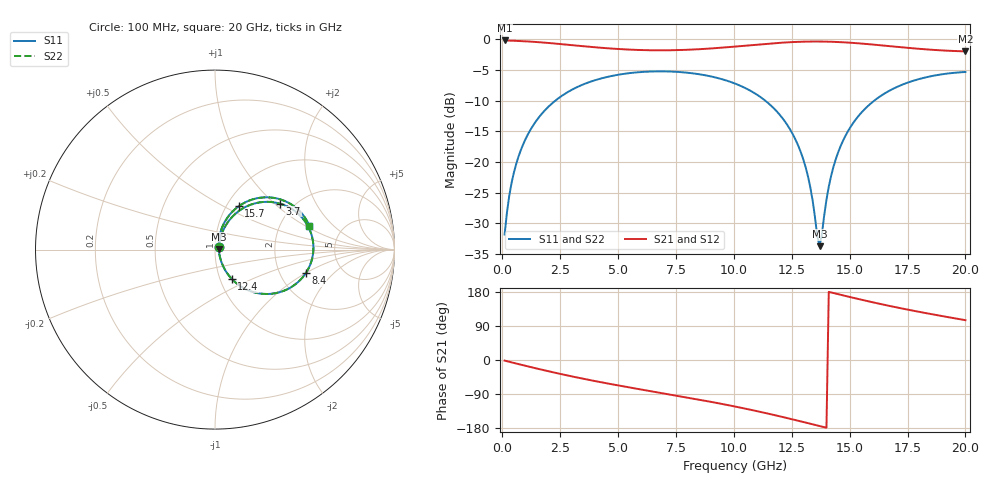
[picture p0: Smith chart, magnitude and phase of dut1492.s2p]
! Touchstone file exported from HFSS 2026.1.0
!  File:  C:/ffzhzh/LocalFiles/Ansys_Project_Files/temp_train_TSV_RDL_1492_1783364380_37376.aedt
!  Generated:  03:08:50 AM Jul  7, 2026
!  Design:  TSV_RDL
!  Project:  temp_train_TSV_RDL_1492_1783364380_37376
! Variables:
!  h_bsmrdl = 3.46um
!  h_ox = 20um
!  h_rdl = 5um
!  h_sub = 75.33um
!  h_tmrdl = 2.57um
!  h_tsv = 75.33um
!  h_via = 3um
!  l_bsmrdl = 793.49um
!  l_sub = 4267.08um
!  l_tmrdl = 336.5um
!  m_sub = 200um
!  pitch = 59.76um
!  r_tsv = 13.05um
!  s_tmrdl = 10um
!  w_bsmrdl = 27.37um
!  w_sub = 500um
!  w_tmrdl = 19.5um
!  x_tsv_center1 = 346.25um
!  x_tsv_center2 = 1167.11um
!  x_tsv_center3 = 1523.11um
!  x_tsv_center4 = 2343.97um
!  x_tsv_center5 = 2699.97um
!  x_tsv_center6 = 3520.83um
# GHz S MA R 50.000000
! Terminal data exported
! Port[1] = TM_RDL1_1_T1
! Port[2] = TM_RDL5_1_T1
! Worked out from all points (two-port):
!   200 points, 100 MHz to 20 GHz, reference 50 ohm
!   highest |S21| = -0.17 dB at 100 MHz (marker M1); lowest = -2.0 dB at 20 GHz (marker M2)
!   |S21| within 3 dB of the highest: start of sweep to end of sweep
!   lowest |S11| = -33.8 dB at 13.7 GHz (marker M3), VSWR 1.04, Z = 52.1 + j0.19 ohm
!   |S11| at or under -10 dB: start of sweep to 2.29 GHz; 11.36 GHz to 16.06 GHz (4.706 GHz wide, 34.3 % of centre)
!   |S22| runs from -33.6 to -5.2 dB; largest |S21 - S12| = 1.7e-14
!   S11 on the Smith chart (normalised r, x): 100 MHz: 1.04, +0.03; 3.7 GHz: 1.70, +1.09; 8.4 GHz: 2.79, -1.00; 12.4 GHz: 1.14, -0.38; 15.7 GHz: 1.14, +0.60; 20 GHz: 2.93, +1.08
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0.1  0.0255 39.0  0.9805 -1.6  0.9805 -1.6  0.0255 39.0
! Gamma 0 0 0 0
! Port Impedance 50 0 50 0
0.3  0.0528 61.8  0.9778 -4.8  0.9778 -4.8  0.0528 61.8
0.5  0.08178 66.3  0.9746 -7.8  0.9746 -7.8  0.08178 66.3
1.1  0.1668 65.0  0.9624 -16.8  0.9624 -16.8  0.1668 65.0
2.1  0.2948 54.2  0.9316 -31.2  0.9316 -31.2  0.2948 54.2
3.5  0.4293 37.5  0.8798 -49.5  0.8798 -49.5  0.4293 37.5
3.7  0.444 35.2  0.8728 -52.0  0.8728 -52.0  0.444 35.2
6.8  0.5486 2.1  0.8144 -86.4  0.8144 -86.4  0.5486 2.2
8.4  0.5231 -14.4  0.8298 -103.5  0.8298 -103.5  0.5231 -14.4
10.1  0.4325 -33.2  0.8759 -123.4  0.8759 -123.4  0.4325 -33.2
11.4  0.3115 -48.8  0.9202 -140.4  0.9202 -140.4  0.3115 -48.7
12.4  0.188 -60.3  0.9483 -154.7  0.9483 -154.7  0.1881 -60.1
13  0.1047 -64.0  0.9583 -163.6  0.9583 -163.6  0.1048 -63.7
13.4  0.0487 -56.3  0.9612 -169.6  0.9612 -169.6  0.04893 -55.8
13.7  0.02051 5.1  0.9612 -174.2  0.9612 -174.2  0.02101 5.0
14.1  0.06279 69.4  0.9583 179.7  0.9583 179.7  0.06294 68.9
14.4  0.105 72.7  0.954 175.2  0.954 175.2  0.105 72.5
14.9  0.1742 70.0  0.9432 167.8  0.9432 167.8  0.1742 69.8
15.7  0.2755 61.3  0.9187 156.4  0.9187 156.4  0.2755 61.2
16.7  0.3796 49.5  0.8822 143.0  0.8822 143.0  0.3796 49.4
18.2  0.4855 32.5  0.8319 124.8  0.8319 124.8  0.4855 32.5
20  0.5422 13.9  0.7989 105.1  0.7989 105.1  0.5422 13.8
